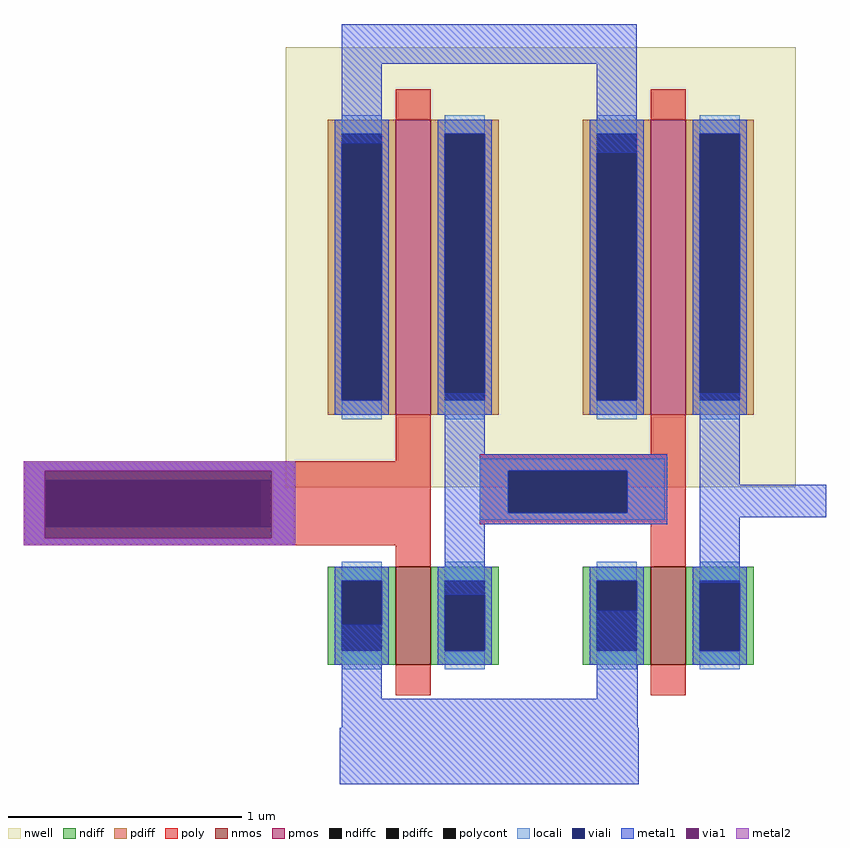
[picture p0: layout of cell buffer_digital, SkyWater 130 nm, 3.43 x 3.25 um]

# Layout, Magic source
magic
tech sky130A
magscale 1 2
<< poly >>
rect 44 202 74 240
rect 262 208 292 232
rect -274 186 74 202
rect -274 146 -256 186
rect -72 146 74 186
rect 116 194 292 208
rect 116 158 140 194
rect 242 158 292 194
rect 116 148 292 158
rect -274 130 74 146
rect 262 122 292 148
<< polycont >>
rect -256 146 -72 186
rect 140 158 242 194
<< locali >>
rect -274 186 -42 202
rect -274 146 -256 186
rect -62 146 -42 186
rect 116 194 274 204
rect 116 158 140 194
rect 242 158 274 194
rect 116 152 274 158
rect -274 130 -42 146
<< viali >>
rect -256 146 -72 186
rect -72 146 -62 186
rect 140 158 242 194
<< metal1 >>
rect -2 542 250 576
rect -2 474 32 542
rect 216 466 250 542
rect 86 208 120 260
rect -274 194 -42 202
rect -274 136 -256 194
rect -62 136 -42 194
rect -274 130 -42 136
rect 86 194 276 208
rect 86 158 140 194
rect 242 158 276 194
rect 86 148 276 158
rect 304 182 338 260
rect 304 154 412 182
rect 86 88 120 148
rect 304 98 338 154
rect -2 -1 32 62
rect 216 29 250 74
rect 216 -1 251 29
rect -2 -26 251 -1
rect -4 -74 252 -26
<< via1 >>
rect -256 186 -62 194
rect -256 146 -62 186
rect -256 136 -62 146
<< metal2 >>
rect -274 194 -42 202
rect -274 136 -256 194
rect -62 136 -42 194
rect -274 130 -42 136
use sky130_fd_pr__nfet_01v8_DQBD8A  sky130_fd_pr__nfet_01v8_DQBD8A_0
transform 1 0 59 0 1 70
box -73 -68 73 68
use sky130_fd_pr__nfet_01v8_DQBD8A  sky130_fd_pr__nfet_01v8_DQBD8A_1
transform 1 0 277 0 1 70
box -73 -68 73 68
use sky130_fd_pr__pfet_01v8_FXZ64Q  sky130_fd_pr__pfet_01v8_FXZ64Q_0
transform 1 0 59 0 1 368
box -109 -188 109 188
use sky130_fd_pr__pfet_01v8_FXZ64Q  sky130_fd_pr__pfet_01v8_FXZ64Q_1
transform 1 0 277 0 1 368
box -109 -188 109 188
<< end >>

# cell sky130_fd_pr__nfet_01v8_DQBD8A: kit device sky130_fd_pr__nfet_01v8, w 0.420 l 0.150 m 1 nf 1 diffcov 100 polycov 100 guard 0 glc 1 grc 1 gtc 1 gbc 1 tbcov 100 rlcov 100 topc 0 botc 0 poverlap 0 doverlap 1 lmin 0.15 wmin 0.42 compatible {sky130_fd_pr__nfet_01v8 sky130_fd_pr__nfet_01v8_lvt sky130_fd_bs_flash__special_sonosfet_star sky130_fd_pr__nfet_g5v0d10v5 sky130_fd_pr__nfet_05v0_nvt sky130_fd_pr__nfet_03v3_nvt} full_metal 0 viasrc 100 viadrn 100 viagate 0 viagb 0 viagr 0 viagl 0 viagt 0

# cell sky130_fd_pr__pfet_01v8_FXZ64Q: kit device sky130_fd_pr__pfet_01v8, w 1.26 l 0.15 m 1 nf 1 diffcov 100 polycov 100 guard 0 glc 1 grc 1 gtc 1 gbc 1 tbcov 100 rlcov 100 topc 0 botc 0 poverlap 0 doverlap 1 lmin 0.15 wmin 0.42 compatible {sky130_fd_pr__pfet_01v8 sky130_fd_pr__pfet_01v8_lvt sky130_fd_pr__pfet_01v8_hvt sky130_fd_pr__pfet_g5v0d10v5} full_metal 0 viasrc 100 viadrn 100 viagate 0 viagb 0 viagr 0 viagl 0 viagt 0
